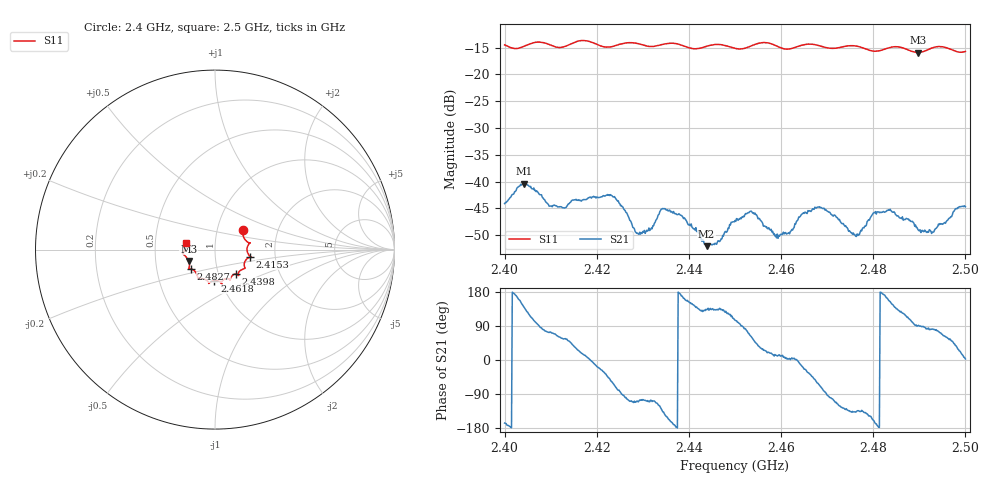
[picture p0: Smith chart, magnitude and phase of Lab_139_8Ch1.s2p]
# Hz S RI R 50
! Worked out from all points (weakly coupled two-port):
!   601 points, 2.4 GHz to 2.5 GHz, reference 50 ohm
!   highest |S21| = -40.36 dB at 2.4042 GHz (marker M1); lowest = -52.0 dB at 2.4438 GHz (marker M2)
!   lowest |S11| = -15.9 dB at 2.4897 GHz (marker M3), VSWR 1.38, Z = 36.9 - j4.83 ohm
!   |S11| at or under -10 dB: start of sweep to end of sweep
!   S12 and S22 are empty: the file has one direction only
!   S11 on the Smith chart (normalised r, x): 2.4 GHz: 1.33, +0.30; 2.4153 GHz: 1.48, -0.12; 2.4398 GHz: 1.21, -0.34; 2.4618 GHz: 0.94, -0.33; 2.4827 GHz: 0.75, -0.17; 2.5 GHz: 0.72, +0.06
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2.4e9  0.155 0.1073  -0.00607 -0.00146  0 0  0 0
2.404167e9  0.1766 0.0459  -0.00735 0.00617  0 0  0 0
2.41e9  0.1856 0.0264  0.00166 0.00568  0 0  0 0
2.415333e9  0.1965 -0.0392  0.00566 0.00371  0 0  0 0
2.416667e9  0.2023 -0.0431  0.00627 0.00201  0 0  0 0
2.4235e9  0.1627 -0.0826  0.00348 -0.00633  0 0  0 0
2.429e9  0.1615 -0.1063  -0.00115 -0.00305  0 0  0 0
2.433333e9  0.1296 -0.1338  -0.00231 -0.00431  0 0  0 0
2.434833e9  0.1291 -0.1428  -0.00459 -0.0032  0 0  0 0
2.439833e9  0.1154 -0.1355  -0.00359 0.00171  0 0  0 0
2.443833e9  0.0859 -0.1617  -0.0017 0.00184  0 0  0 0
2.45e9  0.0655 -0.1622  -0.00112 0.0042  0 0  0 0
2.4535e9  0.0366 -0.1807  0.00249 0.00469  0 0  0 0
2.458833e9  0.032 -0.1829  0.00309 0.000702  0 0  0 0
2.461833e9  -0.0033 -0.1728  0.00325 0.000235  0 0  0 0
2.466667e9  -0.0347 -0.1881  0.00394 -0.00371  0 0  0 0
2.476333e9  -0.096 -0.1567  -0.00223 -0.00213  0 0  0 0
2.482667e9  -0.1348 -0.1082  -0.00513 0.00112  0 0  0 0
2.483333e9  -0.1401 -0.1079  -0.00505 0.00209  0 0  0 0
2.489667e9  -0.1468 -0.0638  -2.79e-05 0.0036  0 0  0 0
2.493e9  -0.1757 -0.0267  0.000526 0.00333  0 0  0 0
2.5e9  -0.1592 0.0385  0.00583 0.000293  0 0  0 0
